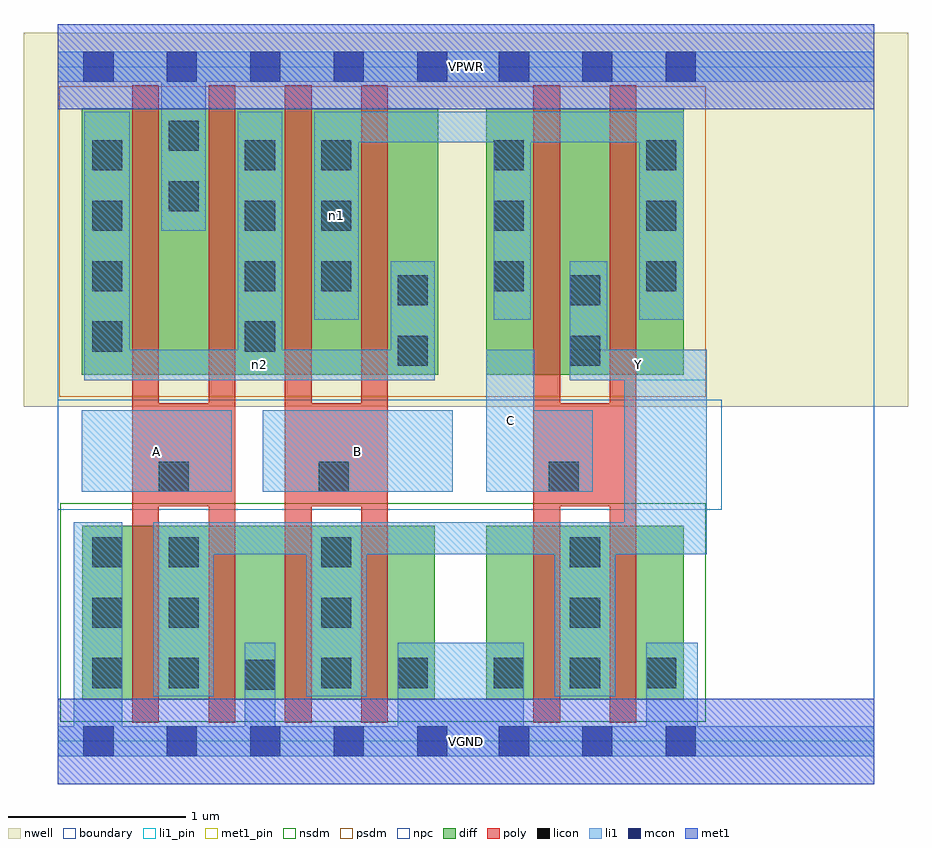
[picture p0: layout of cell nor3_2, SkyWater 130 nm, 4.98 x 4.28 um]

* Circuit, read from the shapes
.subckt nor3_2 A B C VGND VPWR Y n1 n2
XM1 Y A VGND VSUBS sky130_fd_pr__nfet_01v8 w=0.98 l=0.15 m=2
XM2 Y B VGND VSUBS sky130_fd_pr__nfet_01v8 w=0.98 l=0.15 m=2
XM3 Y C VGND VSUBS sky130_fd_pr__nfet_01v8 w=0.98 l=0.15 m=2
XM4 VPWR A n2 n3 sky130_fd_pr__pfet_01v8 w=1.5 l=0.15 m=2
XM5 n1 B n2 n3 sky130_fd_pr__pfet_01v8 w=1.5 l=0.15 m=2
XM6 Y C n1 n3 sky130_fd_pr__pfet_01v8 w=1.5 l=0.15 m=2
.ends

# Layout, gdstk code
import gdstk
lib = gdstk.Library(unit=1e-6, precision=1e-09)
def R(c, l, rs):  # rectangles x0, y0, x1, y1
    for r in rs: c.add(gdstk.rectangle(r[:2], r[2:], *l))
def A(c, l, x, y, w, h, nx, ny, dx, dy):  # array of equal rectangles
    R(c, l, [(x+i*dx, y+j*dy, x+i*dx+w, y+j*dy+h) for i in range(nx) for j in range(ny)])
nwell = (64, 20)
diff = (65, 20)
poly = (66, 20)
licon = (66, 44)
li1_pin = (67, 16)
li1 = (67, 20)
mcon = (67, 44)
met1_pin = (68, 16)
met1 = (68, 20)
nsdm = (93, 44)
psdm = (94, 20)
npc = (95, 20)
boundary = (235, 4)

nor3_2 = lib.new_cell('nor3_2')
R(nor3_2, nwell, [(-0.19,1.885,4.79,3.99), (0,1.885,4.6,3.99)])
R(nor3_2, diff, [(0.14,0.235,2.125,1.215), (2.415,0.235,3.525,1.215), (0.135,2.065,2.145,3.565), (2.415,2.065,3.525,3.565)])
A(nor3_2, poly, 0.42, 0.105, 0.15, 3.59, 4, 1, 0.43, 0)
R(nor3_2, poly, [(2.68,0.105,2.83,3.695), (3.11,0.105,3.26,3.695), (0.42,1.325,1,1.905), (1.28,1.325,1.86,1.905), (2.68,1.325,3.26,1.905)])
A(nor3_2, licon, 0.195, 0.3, 0.17, 0.17, 1, 3, 0, 0.34)
A(nor3_2, licon, 0.625, 0.3, 0.17, 0.17, 1, 3, 0, 0.34)
A(nor3_2, licon, 1.485, 0.3, 0.17, 0.17, 1, 3, 0, 0.34)
A(nor3_2, licon, 2.455, 0.3, 0.17, 0.17, 3, 1, 0.43, 0)
A(nor3_2, licon, 0.195, 2.195, 0.17, 0.17, 1, 4, 0, 0.34)
A(nor3_2, licon, 1.055, 2.195, 0.17, 0.17, 1, 4, 0, 0.34)
A(nor3_2, licon, 1.485, 2.535, 0.17, 0.17, 1, 3, 0, 0.34)
A(nor3_2, licon, 2.455, 2.535, 0.17, 0.17, 1, 3, 0, 0.34)
A(nor3_2, licon, 3.315, 2.535, 0.17, 0.17, 1, 3, 0, 0.34)
R(nor3_2, licon, [(1.055,0.29,1.225,0.46), (1.915,0.3,2.085,0.47), (2.885,0.64,3.055,0.81), (2.885,0.98,3.055,1.15), (0.57,1.405,0.74,1.575), (1.47,1.405,1.64,1.575), (2.765,1.405,2.935,1.575), (1.915,2.115,2.085,2.285), (2.885,2.115,3.055,2.285), (1.915,2.455,2.085,2.625), (2.885,2.455,3.055,2.625), (0.625,2.985,0.795,3.155), (0.625,3.325,0.795,3.495)])
R(nor3_2, li1_pin, [(0.135,1.405,0.98,1.865), (1.155,1.405,2.225,1.865), (2.415,1.405,2.685,2.205), (2.885,2.035,3.655,2.205)])
R(nor3_2, li1, [(0,-0.085,4.6,0.085), (0.09,-0.085,0.365,1.235), (1.055,-0.085,1.225,0.555), (1.915,-0.085,2.625,0.555), (3.315,-0.085,3.605,0.555), (0.54,0.255,0.88,1.235), (1.4,0.255,1.74,1.235), (2.8,0.255,3.14,1.235), (0.54,1.055,3.655,1.235), (3.19,1.055,3.655,2.205), (0.135,1.405,0.98,1.865), (1.155,1.405,2.225,1.865), (2.415,1.405,2.685,2.205), (2.415,1.405,3.015,1.865), (0.15,2.035,2.125,2.205), (0.15,2.035,0.405,3.545), (1.015,2.035,1.265,3.545), (1.875,2.035,2.125,2.705), (2.885,2.035,3.095,2.705), (2.885,2.035,3.655,2.205), (1.445,2.375,1.695,3.545), (2.455,2.375,2.665,3.545), (3.275,2.375,3.525,3.545), (0.585,2.875,0.835,3.885), (1.445,3.375,3.525,3.545), (0,3.715,4.6,3.885)])
A(nor3_2, mcon, 0.145, -0.085, 0.17, 0.17, 5, 2, 0.47, 3.8)
A(nor3_2, mcon, 2.485, -0.085, 0.17, 0.17, 3, 2, 0.47, 3.8)
R(nor3_2, met1_pin, [(0,-0.24,4.6,0.24), (0,3.56,4.6,4.04)])
R(nor3_2, met1, [(0,-0.24,4.6,0.24), (0,3.56,4.6,4.04)])
R(nor3_2, nsdm, [(0.015,0.11,3.65,1.34)])
R(nor3_2, psdm, [(0.01,1.94,3.65,3.69)])
R(nor3_2, npc, [(0,1.305,3.74,1.925)])
R(nor3_2, boundary, [(0,0,4.6,3.8)])
nor3_2.add(gdstk.Label('A', (0.557,1.635), layer=67, texttype=5))
nor3_2.add(gdstk.Label('B', (1.69,1.635), layer=67, texttype=5))
nor3_2.add(gdstk.Label('C', (2.55,1.805), layer=67, texttype=5))
nor3_2.add(gdstk.Label('Y', (3.27,2.12), layer=67, texttype=5))
nor3_2.add(gdstk.Label('n2', (1.137,2.12), layer=67, texttype=5))
nor3_2.add(gdstk.Label('n1', (1.57,2.96), layer=67, texttype=5))
nor3_2.add(gdstk.Label('VPWR', (2.3,3.8), layer=68, texttype=5))
nor3_2.add(gdstk.Label('VGND', (2.3,0), layer=68, texttype=5))
nor3_2.add(gdstk.Label('A', (0.557,1.635), layer=67, texttype=16))
nor3_2.add(gdstk.Label('B', (1.69,1.635), layer=67, texttype=16))
nor3_2.add(gdstk.Label('C', (2.55,1.805), layer=67, texttype=16))
nor3_2.add(gdstk.Label('Y', (3.27,2.12), layer=67, texttype=16))
nor3_2.add(gdstk.Label('VPWR', (2.3,3.8), layer=68, texttype=16))
nor3_2.add(gdstk.Label('VGND', (2.3,0), layer=68, texttype=16))

lib.write_gds('nor3_2.gds')
